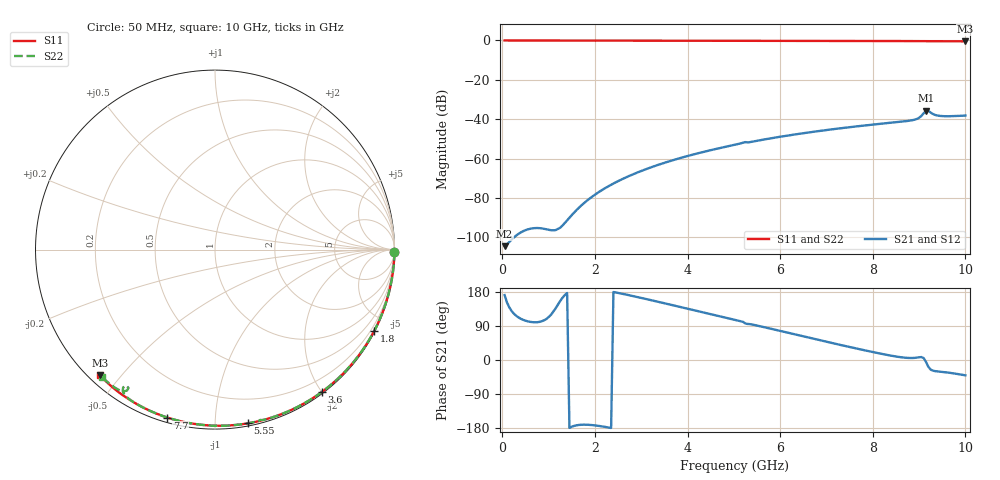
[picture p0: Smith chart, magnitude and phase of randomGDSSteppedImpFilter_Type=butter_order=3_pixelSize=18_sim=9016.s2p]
! freq	dB(S11)	phase(S11)	dB(S12)	phase(S12)
!  dB(S21)	phase(S21)	dB(S22)	phase(S22)
!S-par simulation data
#  GHz  S  DB  R 50
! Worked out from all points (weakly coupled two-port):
!   200 points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, 50 MHz to 10 GHz, reference 50 ohm
!   highest |S21| = -35.73 dB at 9.15 GHz (marker M1); lowest = -104.5 dB at 50 MHz (marker M2)
!   lowest |S11| = -0.4 dB at 10 GHz (marker M3), VSWR 38.96, Z = 1.53 - j22 ohm
!   |S11| at or under -10 dB: nowhere
!   |S22| runs from -0.9 to 0.0 dB; largest |S21 - S12| = 0
!   S11 on the Smith chart (normalised r, x): 50 MHz: open; 1.8 GHz: 0.04, -4.14; 3.6 GHz: 0.02, -2.00; 5.55 GHz: 0.02, -1.21; 7.7 GHz: 0.02, -0.76; 10 GHz: 0.03, -0.44
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0.05  -0.00 -0.8  -104.52 171.2  -104.52 171.2  -0.00 -0.8
0.9  -0.02 -13.7  -95.69 104.7  -95.69 104.7  -0.02 -13.7
1.75  -0.03 -26.4  -82.92 -170.7  -82.92 -170.7  -0.03 -26.3
1.8  -0.03 -27.1  -81.92 -170.7  -81.92 -170.7  -0.03 -27.0
1.9  -0.04 -28.6  -80.06 -171.3  -80.06 -171.3  -0.04 -28.5
2.25  -0.04 -33.7  -74.63 -177.1  -74.63 -177.1  -0.04 -33.6
2.65  -0.05 -39.6  -69.79 173.2  -69.79 173.2  -0.05 -39.4
3.4  -0.07 -50.3  -62.93 152.6  -62.93 152.6  -0.07 -50.1
3.6  -0.07 -53.1  -61.43 146.9  -61.43 146.9  -0.07 -52.9
4.25  -0.09 -62.0  -57.17 128.1  -57.17 128.1  -0.09 -61.8
5.05  -0.11 -72.7  -52.86 105.0  -52.86 105.0  -0.11 -72.6
5.55  -0.13 -79.2  -50.75 89.6  -50.75 89.6  -0.13 -79.0
6.7  -0.18 -93.7  -46.46 56.7  -46.46 56.7  -0.18 -93.5
7.7  -0.24 -105.8  -43.52 28.9  -43.52 28.9  -0.24 -105.6
8.35  -0.29 -113.5  -41.90 12.4  -41.90 12.4  -0.29 -113.4
8.95  -0.34 -120.4  -39.89 6.4  -39.89 6.4  -0.39 -121.4
9.05  -0.35 -121.6  -38.34 7.8  -38.34 7.8  -0.53 -123.1
9.15  -0.36 -122.7  -35.73 -5.2  -35.73 -5.2  -0.88 -123.1
9.2  -0.36 -123.3  -35.81 -17.9  -35.81 -17.9  -0.83 -122.0
9.3  -0.37 -124.5  -37.38 -28.2  -37.38 -28.2  -0.56 -122.6
9.45  -0.39 -126.2  -38.34 -30.7  -38.34 -30.7  -0.46 -124.8
10  -0.45 -132.5  -38.16 -40.5  -38.16 -40.5  -0.46 -131.7
